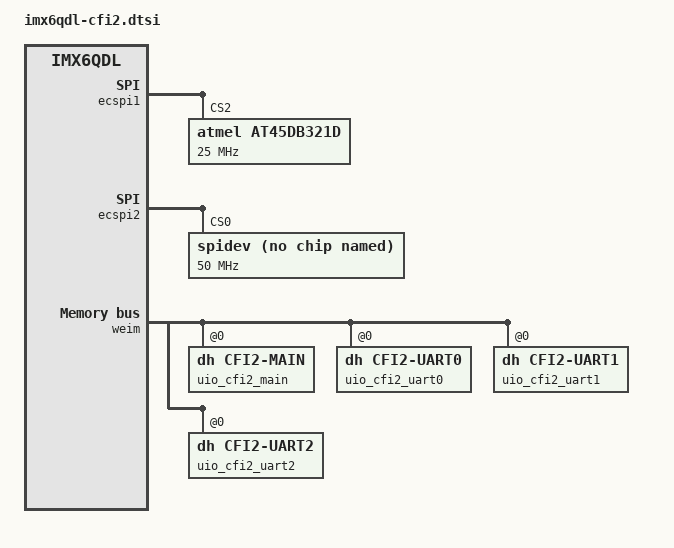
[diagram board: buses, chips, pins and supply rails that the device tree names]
/*
 * Copyright 2014 DH electronics GmbH
 * Copyright 2012 Freescale Semiconductor, Inc.
 * Copyright 2011 Linaro Ltd.
 *
 * The code contained herein is licensed under the GNU General Public
 * License. You may obtain a copy of the GNU General Public License
 * Version 2 or later at the following locations:
 *
 * http://www.opensource.org/licenses/gpl-license.html
 * http://www.gnu.org/copyleft/gpl.html
 */

/ {
};

&ecspi1 {									// ********** SPI 1 **********
	at45db321d@2 {
		#address-cells = <1>;
		#size-cells = <1>;
		compatible = "atmel,at45db321d", "atmel,at45", "atmel,dataflash";
		spi-max-frequency = <25000000>;
		reg = <2>;							// SS2
	};
};

&ecspi2 {									// ********** SPI 2 **********
	spidev@0 {								// ==> /dev/spidev1.0
		compatible = "spidev";
		reg = <0>;							// SS0
		spi-max-frequency = <50000000>;
		spi-cpha;							// Shifted clock phase (CPHA) mode
		spi-cpol;							// Inverse clock polarity (CPOL) mode
	};
};

&weim {
	pinctrl-names = "default";
	pinctrl-0 = <&pinctrl_weim_dhcom_1 &pinctrl_weim_cs0_1>;
	#address-cells = <2>;
	#size-cells = <1>;
	/* it is necessary to setup 2x 64MB otherwise setting gpr fails */
	ranges = <0 0  0x08000000  0x04000000>, // Chipselect A -> CFI2 FPGA
                 <1 0  0x0c000000  0x04000000>; // Chipselect B -> CFI2 FPGA
        fsl,weim-cs-gpr = <&gpr>;
	status = "okay"; 

	uio_cfi2_main@0,0 {
		compatible = "dh,cfi2-main";
		reg = <0 0x00000000 0x02000>,
		      <0 0x00002000 0x02000>,
		      <0 0x0000a000 0x01000>;
		reg-names = "cfi2_general", "cfi2_misc",
                             "cfi2_mux";
		#address-cells = <1>;
		#size-cells = <1>;
		fsl,weim-cs-timing = <0x00610089 0x00001002 0x1c022000
				0x00000000 0x1C092480 0x00000000>;
	};
	
	uio_cfi2_uart0@0,0 {
		compatible = "dh,cfi2-uart0";
		reg = <0 0x00004000 0x02000>;
		reg-names = "cfi2_uart0";
		#address-cells = <1>;
		#size-cells = <1>;
//		interrupts = <0 0 3>;
	};
	
	uio_cfi2_uart1@0,0 {
		compatible = "dh,cfi2-uart1";
		reg = <0 0x00006000 0x02000>;
		reg-names = "cfi2_uart1";
		#address-cells = <1>;
		#size-cells = <1>;
//		interrupts = <0 0 3>;
	};
	
	uio_cfi2_uart2@0,0 {
		compatible = "dh,cfi2-uart2";
		reg = <0 0x00008000 0x02000>;
		reg-names = "cfi2_uart2";
		#address-cells = <1>;
		#size-cells = <1>;
//		interrupts = <0 0 3>;
	};
	
};

/*
&iomuxc {
	pinctrl-names = "default";
	pinctrl-0 = <&pinctrl_hog>;

	hog {
		pinctrl_hog: hoggrp {
			fsl,pins = <
				MX6QDL_PAD_EIM_D27__GPIO3_IO27    0x80000000	// GPIO G -> Backlight Enable
				MX6QDL_PAD_SD1_DAT3__PWM1_OUT     0x80000000	// PWM -> Backlight Enable
				MX6QDL_PAD_KEY_ROW0__GPIO4_IO07   0x80000000	// GPIO H -> Touch Interrupt picoITX dh-touch
				MX6QDL_PAD_DI0_PIN4__GPIO4_IO20   0x1b0b0	// GPIO F
				MX6QDL_PAD_GPIO_4__GPIO1_IO04   0x80000000
				MX6QDL_PAD_GPIO_5__GPIO1_IO05   0x80000000
				MX6QDL_PAD_NANDF_D0__GPIO2_IO00 0x80000000
				MX6QDL_PAD_NANDF_D1__GPIO2_IO01 0x80000000
				MX6QDL_PAD_NANDF_D2__GPIO2_IO02 0x80000000
				MX6QDL_PAD_NANDF_D3__GPIO2_IO03 0x80000000
				MX6QDL_PAD_GPIO_0__CCM_CLKO1    0x130b0
				MX6QDL_PAD_NANDF_CLE__GPIO6_IO07 0x80000000
				MX6QDL_PAD_ENET_TXD1__GPIO1_IO29 0x80000000
				MX6QDL_PAD_EIM_D22__GPIO3_IO22  0x80000000
			>;
		};
	};
};*/
